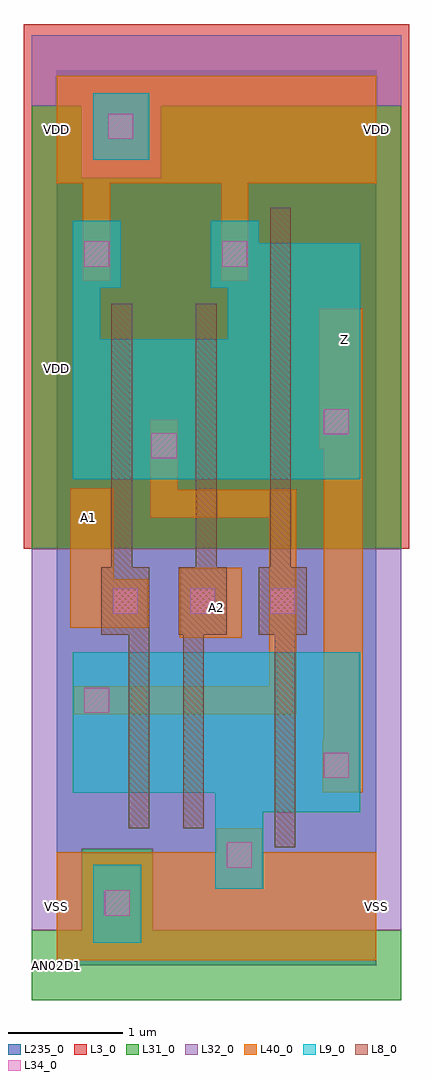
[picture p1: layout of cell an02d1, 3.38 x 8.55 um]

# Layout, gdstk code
import gdstk
lib = gdstk.Library(unit=1e-6, precision=1e-09)
def R(c, l, rs):  # rectangles x0, y0, x1, y1
    for r in rs: c.add(gdstk.rectangle(r[:2], r[2:], *l))
def P(c, l, *ps):  # polygons
    for p in ps: c.add(gdstk.Polygon(p, *l))
L3_0 = (3, 0)
L8_0 = (8, 0)
L9_0 = (9, 0)
L31_0 = (31, 0)
L32_0 = (32, 0)
L34_0 = (34, 0)
L40_0 = (40, 0)
L235_0 = (235, 0)

an02d1 = lib.new_cell('an02d1')
R(an02d1, L3_0, [(-0.29,3.65,3.09,8.245)])
P(an02d1, L8_0, [(2.09,2.895),(2.19,2.895),(2.19,3.485),(2.05,3.485),(2.05,6.635),(1.87,6.635),(1.87,3.485),(1.77,3.485),(1.77,2.895),(1.91,2.895),(1.91,1.035),(2.09,1.035)],
  [(1.29,2.895),(1.49,2.895),(1.49,3.485),(1.4,3.485),(1.4,5.795),(1.22,5.795),(1.22,3.485),(1.07,3.485),(1.07,2.895),(1.11,2.895),(1.11,1.2),(1.29,1.2)],
  [(0.81,3.485),(0.66,3.485),(0.66,5.795),(0.48,5.795),(0.48,3.485),(0.39,3.485),(0.39,2.895),(0.63,2.895),(0.63,1.2),(0.81,1.2)])
R(an02d1, L9_0, [(0.32,0.195,0.74,0.88), (0.32,7.055,0.81,7.64)])
P(an02d1, L9_0, [(2.66,2.74),(2.66,1.34),(1.81,1.34),(1.81,0.67),(1.39,0.67),(1.39,1.51),(0.14,1.51),(0.14,2.74)],
  [(1.77,6.52),(1.77,6.325),(2.66,6.325),(2.66,4.255),(0.14,4.255),(0.14,6.52),(0.56,6.52),(0.56,5.935),(0.38,5.935),(0.38,5.485),(1.5,5.485),(1.5,5.935),(1.35,5.935),(1.35,6.52)])
P(an02d1, L31_0, [(0.84,1.02),(0.84,0.305),(3.02,0.305),(3.02,-0.305),(-0.22,-0.305),(-0.22,0.305),(0.22,0.305),(0.22,1.02)],
  [(3.02,7.53),(3.02,3.65),(-0.22,3.65),(-0.22,7.53),(0.22,7.53),(0.22,6.9),(0.91,6.9),(0.91,7.53)])
P(an02d1, L32_0, [(3.02,3.65),(3.02,0.305),(0.84,0.305),(0.84,1.02),(0.22,1.02),(0.22,0.305),(-0.22,0.305),(-0.22,3.65)],
  [(3.02,8.145),(3.02,7.53),(0.91,7.53),(0.91,6.9),(0.22,6.9),(0.22,7.53),(-0.22,7.53),(-0.22,8.145)])
R(an02d1, L34_0, [(0.42,0.435,0.64,0.655), (1.49,0.855,1.71,1.075), (2.34,1.64,2.56,1.86), (0.24,2.21,0.46,2.43), (0.49,3.08,0.71,3.3), (1.17,3.08,1.39,3.3), (1.87,3.08,2.09,3.3), (0.83,4.44,1.05,4.66), (2.34,4.65,2.56,4.87), (0.24,6.12,0.46,6.34), (1.45,6.12,1.67,6.34), (0.45,7.24,0.67,7.46)])
R(an02d1, L40_0, [(1.08,2.87,1.62,3.48)])
P(an02d1, L40_0, [(0,6.85),(0.23,6.85),(0.23,5.995),(0.47,5.995),(0.47,6.85),(1.44,6.85),(1.44,5.995),(1.68,5.995),(1.68,6.85),(2.8,6.85),(2.8,7.79),(0,7.79)],
  [(2.3,4.525),(2.34,4.525),(2.34,1.98),(2.33,1.98),(2.33,1.515),(2.68,1.515),(2.68,5.75),(2.3,5.75)],
  [(1.06,4.78),(0.82,4.78),(0.82,3.92),(1.86,3.92),(1.86,2.445),(0.15,2.445),(0.15,2.2),(2.1,2.2),(2.1,4.165),(1.06,4.165)],
  [(0.12,4.18),(0.12,2.955),(0.8,2.955),(0.8,3.38),(0.5,3.38),(0.5,4.18)],
  [(1.4,1.2),(1.4,0.99),(0,0.99),(0,0.045),(2.8,0.045),(2.8,0.99),(1.8,0.99),(1.8,1.2)])
R(an02d1, L235_0, [(0,0,2.8,7.84)])
an02d1.add(gdstk.Label('VDD', (0,5.23), layer=40, texttype=7))
an02d1.add(gdstk.Label('VDD', (0,5.23), layer=40, texttype=7))
an02d1.add(gdstk.Label('VDD', (0,5.23), layer=40, texttype=7))
an02d1.add(gdstk.Label('VDD', (0,5.23), layer=40, texttype=7))
an02d1.add(gdstk.Label('VDD', (0,5.23), layer=40, texttype=7))
an02d1.add(gdstk.Label('Copyright (c) 2003, 2004 Synopsys, Inc.', (0,-2.24), layer=96, texttype=0))
an02d1.add(gdstk.Label('DT. 10-Sep-2002 16:35:12', (0,-1.68), layer=96, texttype=0))
an02d1.add(gdstk.Label('Rev. 1', (0,-1.12), layer=96, texttype=0))
an02d1.add(gdstk.Label('2-INPUT AND, 1X DRIVE', (0,-0.56), layer=96, texttype=0))
an02d1.add(gdstk.Label('AN02D1', (0,0), layer=96, texttype=0))
an02d1.add(gdstk.Label('Z', (2.52,5.485), layer=40, texttype=7))
an02d1.add(gdstk.Label('A1', (0.28,3.92), layer=40, texttype=7))
an02d1.add(gdstk.Label('A2', (1.4,3.135), layer=40, texttype=7))
an02d1.add(gdstk.Label('VSS', (2.8,0.515), layer=40, texttype=7))
an02d1.add(gdstk.Label('VDD', (2.8,7.32), layer=40, texttype=7))
an02d1.add(gdstk.Label('VSS', (0,0.515), layer=40, texttype=7))
an02d1.add(gdstk.Label('VDD', (0,7.32), layer=40, texttype=7))

lib.write_gds('an02d1.gds')
